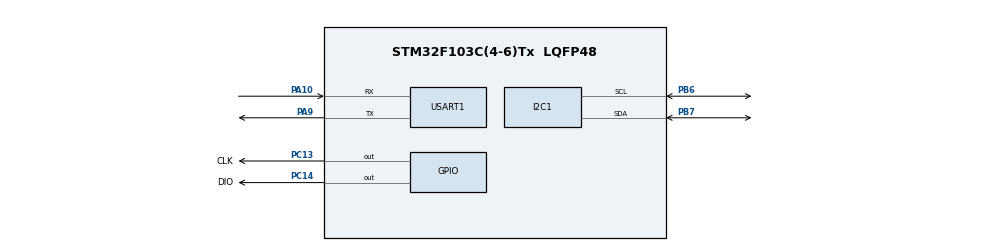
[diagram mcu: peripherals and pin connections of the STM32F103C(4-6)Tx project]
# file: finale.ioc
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Mcu.Family=STM32F1
Mcu.Name=STM32F103C(4-6)Tx
Mcu.Package=LQFP48
NVIC.I2C1_ER_IRQn=true\:0\:0\:false\:false\:true\:true\:true\:true
NVIC.I2C1_EV_IRQn=true\:0\:0\:false\:false\:true\:true\:true\:true
NVIC.PriorityGroup=NVIC_PRIORITYGROUP_4
NVIC.USART1_IRQn=true\:0\:0\:false\:false\:true\:true\:true\:true
PA10.Mode=Asynchronous
PA10.Signal=USART1_RX
PA13.Mode=Trace_Asynchronous_SW
PA13.Signal=SYS_JTMS-SWDIO
PA14.Mode=Trace_Asynchronous_SW
PA14.Signal=SYS_JTCK-SWCLK
PA9.Mode=Asynchronous
PA9.Signal=USART1_TX
PB3.Mode=Trace_Asynchronous_SW
PB3.Signal=SYS_JTDO-TRACESWO
PB6.Mode=I2C
PB6.Signal=I2C1_SCL
PB7.Mode=I2C
PB7.Signal=I2C1_SDA
PC13-TAMPER-RTC.GPIO_Label=CLK
PC13-TAMPER-RTC.Signal=GPIO_Output
PC14-OSC32_IN.GPIO_Label=DIO
PC14-OSC32_IN.Signal=GPIO_Output
PD0-OSC_IN.Mode=HSE-External-Oscillator
PD0-OSC_IN.Signal=RCC_OSC_IN
PD1-OSC_OUT.Mode=HSE-External-Oscillator
PD1-OSC_OUT.Signal=RCC_OSC_OUT
ProjectManager.HeapSize=0x200
ProjectManager.StackSize=0x400
ProjectManager.TargetToolchain=STM32CubeIDE
RCC.APB1Freq_Value=8000000
RCC.APB2Freq_Value=8000000
USART1.VirtualMode=VM_ASYNC
board=custom

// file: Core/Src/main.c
/* USER CODE BEGIN Header */
/**
  ******************************************************************************
  * @file           : main.c
  * @brief          : Main program body
  ******************************************************************************
  * @attention
  *
  * Copyright (c) 2025 STMicroelectronics.
  * All rights reserved.
  *
  * This software is licensed under terms that can be found in the LICENSE file
  * in the root directory of this software component.
  * If no LICENSE file comes with this software, it is provided AS-IS.
  *
  ******************************************************************************
  */
/* USER CODE END Header */
#include "main.h"
#include "i2c.h"
#include "usart.h"
#include "gpio.h"
#include "math.h"

/* USER CODE BEGIN Includes */
#include "delay_micros.h"
#include "tm1637.h"
#include "MPU6050.h"

/* USER CODE END Includes */

void SystemClock_Config(void);

int main(void)
{

  /* USER CODE BEGIN 1 */
//int16_t Accel_X_RAW; //данные с акселерометра по оси X
int16_t Accel_Y_RAW;
int16_t Accel_Z_RAW;

int16_t Gyro_X_RAW; //данные с гироскопа по оси X

uint8_t Rec_Data[14]; //буфер хранения сырых данных

//uint8_t check = 0;

int32_t Angle_X = 0.0f;  // Текущий угол
int dec = 0;
int unit = 0;

int32_t alpha = 0.98;     // Коэффициент доверия гироскопу
uint32_t prev_time = HAL_GetTick();

  /* USER CODE END 1 */

  /* MCU Configuration--------------------------------------------------------*/

  /* Reset of all peripherals, Initializes the Flash interface and the Systick. */
  HAL_Init();

  /* Configure the system clock */
  SystemClock_Config();

  /* Initialize all configured peripherals */
  MX_GPIO_Init();
  MX_USART1_UART_Init();
  MX_I2C1_Init();
  /* USER CODE BEGIN 2 */
  MPU6050_Init();

  DWT_Init();        // инициализация DWT
  set_brightness(7); // 0 - 7 яркость
  clearDisplay();    // очистка дисплея

  int8_t TimeDisp[4] = {0,};

  /* USER CODE END 2 */

  /* Infinite loop */
  /* USER CODE BEGIN WHILE */
   while (1)
   {
	   /*HAL_I2C_Mem_Read(&hi2c1,MPU6050_ADDRESS_AD0_LOW,
	   MPU6050_RA_ACCEL_XOUT_H, 1, Rec_Data, 6, 1000);

	   Accel_X_RAW = (int16_t)(Rec_Data[0] << 8 | Rec_Data [1]);

	   HAL_I2C_Mem_Read(&hi2c1,MPU6050_ADDRESS_AD0_LOW,
	   MPU6050_RA_GYRO_XOUT_H, 1, Rec_Data, 6, 1000);
	   Gyro_X_RAW = (int16_t)(Rec_Data[0] << 8 | Rec_Data [1]);*/

	   // 1. Измеряем время между итерациями (dt)
	       uint32_t current_time = HAL_GetTick();
	       float dt = (current_time - prev_time) / 1000.0f;  // в секундах
	       prev_time = current_time;

	       // 2. Читаем гироскоп и переводим в °/s
	       HAL_I2C_Mem_Read(&hi2c1, MPU6050_ADDRESS_AD0_LOW, MPU6050_RA_GYRO_XOUT_H, 1, Rec_Data, 6, 1000);
	       Gyro_X_RAW = (int16_t)(Rec_Data[0] << 8 | Rec_Data[1]);
	       float Gyro_X_DPS = Gyro_X_RAW / 131.0f;  // Для ±250°/s (FS_SEL=0)

	       // 3. Читаем акселерометр и вычисляем угол (в градусах)
	       HAL_I2C_Mem_Read(&hi2c1, MPU6050_ADDRESS_AD0_LOW, MPU6050_RA_ACCEL_XOUT_H, 1, Rec_Data, 6, 1000);
	       //Accel_X_RAW = (int16_t)(Rec_Data[0] << 8 | Rec_Data[1]);
	       Accel_Y_RAW = (int16_t)(Rec_Data[2] << 8 | Rec_Data[3]);
	       Accel_Z_RAW = (int16_t)(Rec_Data[4] << 8 | Rec_Data[5]);

	       // Угол из акселерометра (atan2 в радианах, переводим в градусы)
	       float Accel_X_Angle = atan2(Accel_Y_RAW, Accel_Z_RAW) * 180.0f / M_PI;

	       // 4. Комбинируем данные фильтром
	       Angle_X = alpha * (Angle_X + Gyro_X_DPS * dt) + (1 - alpha) * Accel_X_Angle;

	       dec = (abs(Angle_X) % 90) / 10;  // Гарантирует результат в [0, 9)
	       unit = abs(Angle_X)%10; // ОШИБКА???

	   //вывод на экран

	   TimeDisp[0] = 0x7f;

	   if (Angle_X<0) {
	   	   TimeDisp[1] = 12;
	   }
	   else {
		   TimeDisp[1] = 0x7f;
	   }

	   TimeDisp[2] = dec;

	   TimeDisp[3] = unit;

	   display_mass(TimeDisp);

	   HAL_Delay(400);

    /* USER CODE END WHILE */

   }
}

void SystemClock_Config(void)
{
  RCC_OscInitTypeDef RCC_OscInitStruct = {0};
  RCC_ClkInitTypeDef RCC_ClkInitStruct = {0};

  /** Initializes the RCC Oscillators according to the specified parameters
  * in the RCC_OscInitTypeDef structure.
  */
  RCC_OscInitStruct.OscillatorType = RCC_OSCILLATORTYPE_HSI;
  RCC_OscInitStruct.HSIState = RCC_HSI_ON;
  RCC_OscInitStruct.HSICalibrationValue = RCC_HSICALIBRATION_DEFAULT;
  RCC_OscInitStruct.PLL.PLLState = RCC_PLL_NONE;
  if (HAL_RCC_OscConfig(&RCC_OscInitStruct) != HAL_OK)
  {
    Error_Handler();
  }

  /** Initializes the CPU, AHB and APB buses clocks
  */
  RCC_ClkInitStruct.ClockType = RCC_CLOCKTYPE_HCLK|RCC_CLOCKTYPE_SYSCLK
                              |RCC_CLOCKTYPE_PCLK1|RCC_CLOCKTYPE_PCLK2;
  RCC_ClkInitStruct.SYSCLKSource = RCC_SYSCLKSOURCE_HSI;
  RCC_ClkInitStruct.AHBCLKDivider = RCC_SYSCLK_DIV1;
  RCC_ClkInitStruct.APB1CLKDivider = RCC_HCLK_DIV1;
  RCC_ClkInitStruct.APB2CLKDivider = RCC_HCLK_DIV1;

  if (HAL_RCC_ClockConfig(&RCC_ClkInitStruct, FLASH_LATENCY_0) != HAL_OK)
  {
    Error_Handler();
  }
}

void Error_Handler(void)
{
  __disable_irq();
  while (1)
  {
  }
}
